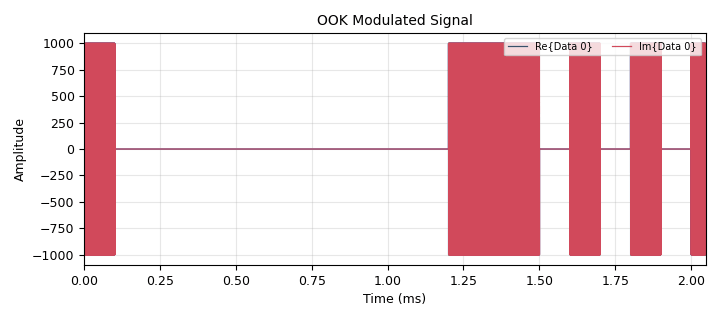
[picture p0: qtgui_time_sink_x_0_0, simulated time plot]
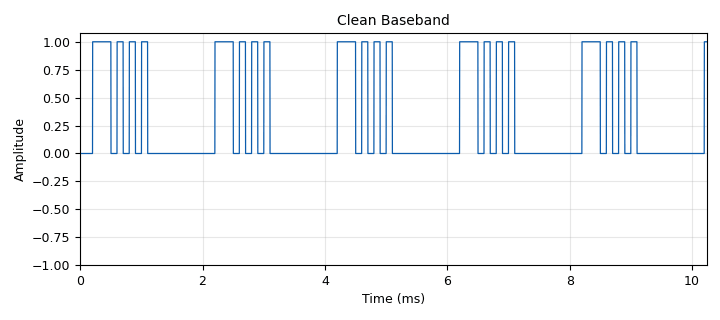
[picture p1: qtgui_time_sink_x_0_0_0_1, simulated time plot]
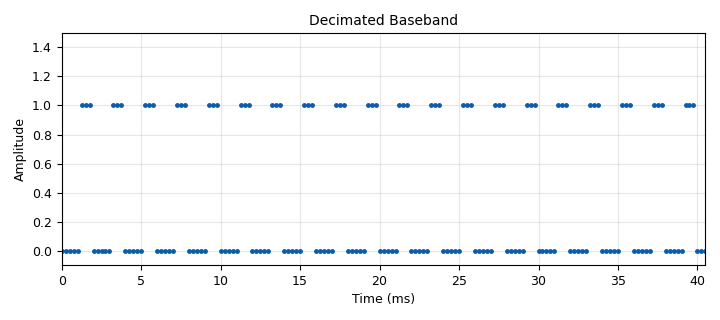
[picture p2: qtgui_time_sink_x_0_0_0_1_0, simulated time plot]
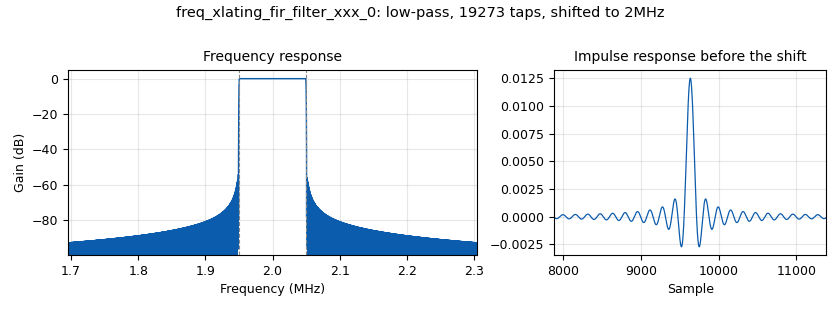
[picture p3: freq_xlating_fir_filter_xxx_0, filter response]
options:
  parameters:
    author: parallels
    generate_options: qt_gui
    id: ook_tx
    output_language: python
    title: OOK Transmitter
  states: {}

blocks:
- name: center_freq
  id: variable
  parameters:
    value: 313e6
  states: {}
- name: filter_cutoff
  id: variable
  parameters:
    value: 50e3
  states: {}
- name: filter_transition
  id: variable
  parameters:
    value: 1e3
  states: {}
- name: freq
  id: variable_qtgui_entry
  parameters:
    type: real
    value: 315e6
  states: {}
- name: gain
  id: variable
  parameters:
    value: 1e3
  states: {}
- name: samp_rate
  id: variable
  parameters:
    value: 8e6
  states: {}
- name: threshold
  id: variable_qtgui_entry
  parameters:
    type: real
    value: '500'
  states: {}
- name: working_samp_rate
  id: variable
  parameters:
    value: 400e3
  states: {}
- name: analog_const_source_x_0
  id: analog_const_source_x
  parameters:
    const: '0'
    type: float
  states: {}
- name: analog_sig_source_x_0
  id: analog_sig_source_x
  parameters:
    amp: gain
    freq: freq-center_freq
    offset: '0'
    phase: '0'
    samp_rate: samp_rate
    type: complex
    waveform: analog.GR_COS_WAVE
  states: {}
- name: blocks_add_const_vxx_0
  id: blocks_add_const_vxx
  parameters:
    const: '-1*threshold'
    type: float
  states: {}
- name: blocks_complex_to_mag_0
  id: blocks_complex_to_mag
  parameters: {}
  states: {}
- name: blocks_float_to_complex_0
  id: blocks_float_to_complex
  parameters: {}
  states: {}
- name: blocks_float_to_uchar_0
  id: blocks_float_to_uchar
  parameters: {}
  states: {state: disabled}
- name: blocks_keep_one_in_n_0
  id: blocks_keep_one_in_n
  parameters:
    n: int(0.25e-3*working_samp_rate)
    type: float
  states: {}
- name: blocks_multiply_xx_0
  id: blocks_multiply_xx
  parameters:
    type: complex
  states: {}
- name: blocks_repeat_0
  id: blocks_repeat
  parameters:
    interp: '800'
    type: float
  states: {}
- name: blocks_throttle_0
  id: blocks_throttle
  parameters:
    samples_per_second: samp_rate
    type: complex
  states: {}
- name: blocks_uchar_to_float_0
  id: blocks_uchar_to_float
  parameters: {}
  states: {}
- name: blocks_vector_source_x_0
  id: blocks_vector_source_x
  parameters:
    repeat: 'True'
    type: float
    vector: (0, 1, 1, 1, 0, 1, 0, 1, 0, 1, 0, 0, 0, 0, 0, 0, 0, 0, 0, 0)
  states: {}
- name: digital_binary_slicer_fb_0
  id: digital_binary_slicer_fb
  parameters: {}
  states: {}
- name: fec_ber_bf_0
  id: fec_ber_bf
  parameters:
    test_mode: 'False'
  states: {state: disabled}
- name: freq_xlating_fir_filter_xxx_0
  id: freq_xlating_fir_filter_xxx
  parameters:
    center_freq: freq-center_freq
    decim: int(samp_rate/working_samp_rate)
    samp_rate: samp_rate
    taps: firdes.low_pass(1, samp_rate, filter_cutoff, filter_transition)
    type: ccc
  states: {}
- name: qtgui_time_sink_x_0
  id: qtgui_time_sink_x
  parameters:
    name: '"Digital Input"'
    size: '16384'
    srate: samp_rate
    tr_delay: '100e-6'
    tr_level: '0.5'
    tr_mode: qtgui.TRIG_MODE_AUTO
    type: float
    ymin: '-0.1'
  states: {state: disabled}
- name: qtgui_time_sink_x_0_0
  id: qtgui_time_sink_x
  parameters:
    name: '"OOK Modulated Signal"'
    size: '16384'
    srate: samp_rate
    tr_delay: '100e-6'
    tr_level: '500'
    tr_mode: qtgui.TRIG_MODE_AUTO
    type: complex
    ymax: '1100'
    ymin: '-1100'
  states: {}
- name: qtgui_time_sink_x_0_0_0
  id: qtgui_time_sink_x
  parameters:
    label1: ''
    name: '"Baseband Output"'
    size: '16384'
    srate: working_samp_rate
    tr_delay: '1e-3'
    tr_level: '0.5'
    tr_mode: qtgui.TRIG_MODE_AUTO
    type: float
  states: {state: disabled}
- name: qtgui_time_sink_x_0_0_0_1
  id: qtgui_time_sink_x
  parameters:
    ctrlpanel: 'True'
    label1: ''
    name: '"Clean Baseband"'
    size: '4096'
    srate: working_samp_rate
    tr_delay: '1e-3'
    tr_level: '0.5'
    tr_mode: qtgui.TRIG_MODE_AUTO
    type: float
  states: {}
- name: qtgui_time_sink_x_0_0_0_1_0
  id: qtgui_time_sink_x
  parameters:
    ctrlpanel: 'True'
    label1: ''
    marker1: '0'
    name: '"Decimated Baseband"'
    size: int(16384/100)
    srate: 1/0.25e-3
    style1: '0'
    tr_delay: '1e-3'
    tr_level: '0.5'
    tr_mode: qtgui.TRIG_MODE_AUTO
    type: float
    ymax: '1.5'
    ymin: '-0.1'
  states: {}

connections:
- [analog_const_source_x_0, '0', blocks_float_to_complex_0, '1']
- [analog_sig_source_x_0, '0', blocks_throttle_0, '0']
- [blocks_add_const_vxx_0, '0', digital_binary_slicer_fb_0, '0']
- [blocks_complex_to_mag_0, '0', blocks_add_const_vxx_0, '0']
- [blocks_complex_to_mag_0, '0', qtgui_time_sink_x_0_0_0, '0']
- [blocks_float_to_complex_0, '0', blocks_multiply_xx_0, '0']
- [blocks_keep_one_in_n_0, '0', qtgui_time_sink_x_0_0_0_1_0, '0']
- [blocks_multiply_xx_0, '0', freq_xlating_fir_filter_xxx_0, '0']
- [blocks_multiply_xx_0, '0', qtgui_time_sink_x_0_0, '0']
- [blocks_repeat_0, '0', blocks_float_to_complex_0, '0']
- [blocks_repeat_0, '0', qtgui_time_sink_x_0, '0']
- [blocks_throttle_0, '0', blocks_multiply_xx_0, '1']
- [blocks_uchar_to_float_0, '0', blocks_keep_one_in_n_0, '0']
- [blocks_uchar_to_float_0, '0', qtgui_time_sink_x_0_0_0_1, '0']
- [blocks_vector_source_x_0, '0', blocks_repeat_0, '0']
- [digital_binary_slicer_fb_0, '0', blocks_uchar_to_float_0, '0']
- [freq_xlating_fir_filter_xxx_0, '0', blocks_complex_to_mag_0, '0']

metadata:
  file_format: 1
